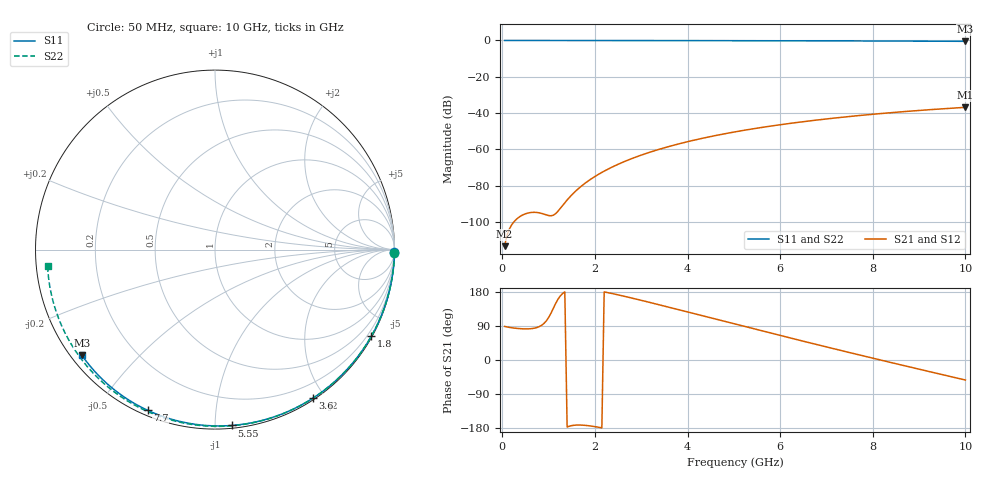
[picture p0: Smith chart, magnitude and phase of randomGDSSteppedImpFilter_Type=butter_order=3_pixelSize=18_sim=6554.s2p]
! freq	dB(S11)	phase(S11)	dB(S12)	phase(S12)
!  dB(S21)	phase(S21)	dB(S22)	phase(S22)
!S-par simulation data
#  GHz  S  DB  R 50
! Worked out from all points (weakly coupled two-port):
!   200 points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, 50 MHz to 10 GHz, reference 50 ohm
!   highest |S21| = -36.84 dB at 10 GHz (marker M1); lowest = -113.3 dB at 50 MHz (marker M2)
!   lowest |S11| = -0.5 dB at 10 GHz (marker M3), VSWR 36.67, Z = 1.53 - j17.4 ohm
!   |S11| at or under -10 dB: nowhere
!   |S22| runs from -0.6 to 0.0 dB; largest |S21 - S12| = 0
!   S11 on the Smith chart (normalised r, x): 50 MHz: open; 1.8 GHz: 0.03, -3.86; 3.6 GHz: 0.02, -1.86; 5.55 GHz: 0.02, -1.10; 7.7 GHz: 0.02, -0.66; 10 GHz: 0.03, -0.35
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0.05  -0.00 -0.8  -113.30 88.6  -113.30 88.6  -0.00 -1.0
0.45  -0.01 -7.4  -95.99 82.2  -95.99 82.2  -0.01 -9.2
0.85  -0.02 -13.8  -95.28 91.7  -95.28 91.7  -0.02 -17.3
1.25  -0.03 -20.3  -92.61 168.7  -92.61 168.7  -0.03 -25.4
1.7  -0.03 -27.4  -80.38 -171.7  -80.38 -171.7  -0.04 -34.3
1.75  -0.04 -28.2  -79.36 -172.1  -79.36 -172.1  -0.04 -35.3
1.8  -0.04 -29.0  -78.39 -172.6  -78.39 -172.6  -0.05 -36.2
2.1  -0.04 -33.7  -73.39 -177.9  -73.39 -177.9  -0.05 -42.1
2.3  -0.05 -36.9  -70.64 177.3  -70.64 177.3  -0.06 -45.9
2.5  -0.05 -40.0  -68.21 171.9  -68.21 171.9  -0.06 -49.8
2.9  -0.06 -46.1  -64.07 160.5  -64.07 160.5  -0.07 -57.3
3.4  -0.07 -53.7  -59.86 145.4  -59.86 145.4  -0.09 -66.6
3.6  -0.08 -56.6  -58.39 139.2  -58.39 139.2  -0.09 -70.2
4.3  -0.09 -66.9  -54.00 117.4  -54.00 117.4  -0.12 -82.6
5.05  -0.12 -77.5  -50.23 94.1  -50.23 94.1  -0.15 -95.5
5.55  -0.14 -84.5  -48.11 78.6  -48.11 78.6  -0.17 -103.8
6.1  -0.16 -91.9  -46.06 61.7  -46.06 61.7  -0.20 -112.7
6.7  -0.19 -99.9  -44.11 43.5  -44.11 43.5  -0.24 -122.3
7.7  -0.26 -112.8  -41.37 13.6  -41.37 13.6  -0.31 -138.0
8.35  -0.31 -121.0  -39.87 -5.4  -39.87 -5.4  -0.37 -148.2
9.2  -0.39 -131.6  -38.18 -30.0  -38.18 -30.0  -0.47 -161.6
10  -0.47 -141.5  -36.84 -52.8  -36.84 -52.8  -0.57 -174.5
